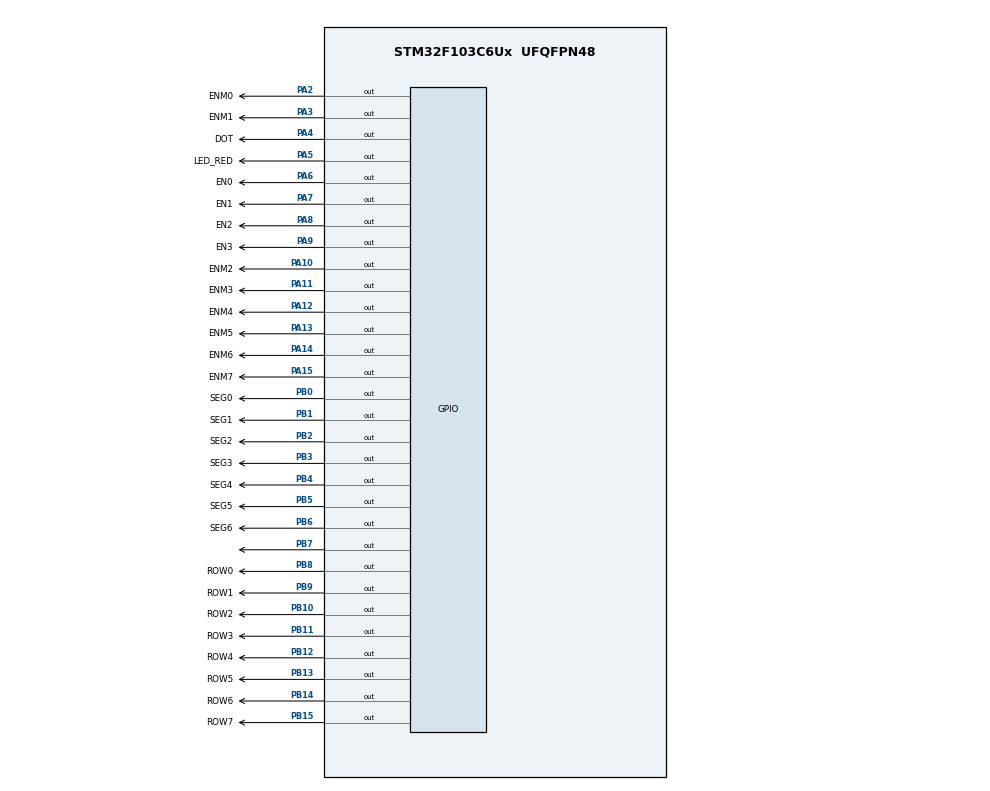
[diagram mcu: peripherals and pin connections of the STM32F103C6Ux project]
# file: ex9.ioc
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Mcu.Family=STM32F1
Mcu.Name=STM32F103C6Ux
Mcu.Package=UFQFPN48
NVIC.PriorityGroup=NVIC_PRIORITYGROUP_4
NVIC.TIM2_IRQn=true\:0\:0\:false\:false\:true\:true\:true
PA10.GPIO_Label=ENM2
PA10.Signal=GPIO_Output
PA11.GPIO_Label=ENM3
PA11.Signal=GPIO_Output
PA12.GPIO_Label=ENM4
PA12.Signal=GPIO_Output
PA13.GPIO_Label=ENM5
PA13.Signal=GPIO_Output
PA14.GPIO_Label=ENM6
PA14.Signal=GPIO_Output
PA15.GPIO_Label=ENM7
PA15.Signal=GPIO_Output
PA2.GPIO_Label=ENM0
PA2.Signal=GPIO_Output
PA3.GPIO_Label=ENM1
PA3.Signal=GPIO_Output
PA4.GPIO_Label=DOT
PA4.Signal=GPIO_Output
PA5.GPIO_Label=LED_RED
PA5.Signal=GPIO_Output
PA6.GPIO_Label=EN0
PA6.Signal=GPIO_Output
PA7.GPIO_Label=EN1
PA7.Signal=GPIO_Output
PA8.GPIO_Label=EN2
PA8.Signal=GPIO_Output
PA9.GPIO_Label=EN3
PA9.Signal=GPIO_Output
PB0.GPIO_Label=SEG0
PB0.Signal=GPIO_Output
PB1.GPIO_Label=SEG1
PB1.Signal=GPIO_Output
PB10.GPIO_Label=ROW2
PB10.Signal=GPIO_Output
PB11.GPIO_Label=ROW3
PB11.Signal=GPIO_Output
PB12.GPIO_Label=ROW4
PB12.Signal=GPIO_Output
PB13.GPIO_Label=ROW5
PB13.Signal=GPIO_Output
PB14.GPIO_Label=ROW6
PB14.Signal=GPIO_Output
PB15.GPIO_Label=ROW7
PB15.Signal=GPIO_Output
PB2.GPIO_Label=SEG2
PB2.Signal=GPIO_Output
PB3.GPIO_Label=SEG3
PB3.Signal=GPIO_Output
PB4.GPIO_Label=SEG4
PB4.Signal=GPIO_Output
PB5.GPIO_Label=SEG5
PB5.Signal=GPIO_Output
PB6.GPIO_Label=SEG6
PB6.Signal=GPIO_Output
PB7.Signal=GPIO_Output
PB8.GPIO_Label=ROW0
PB8.Signal=GPIO_Output
PB9.GPIO_Label=ROW1
PB9.Signal=GPIO_Output
ProjectManager.HeapSize=0x200
ProjectManager.StackSize=0x400
ProjectManager.TargetToolchain=STM32CubeIDE
RCC.APB1Freq_Value=8000000
RCC.APB2Freq_Value=8000000
TIM2.Period=9
TIM2.Prescaler=7999
VP_SYS_VS_ND.Mode=No_Debug
VP_TIM2_VS_ClockSourceINT.Mode=Internal
board=custom

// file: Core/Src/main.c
/* USER CODE BEGIN Header */
/**
  ******************************************************************************
  * @file           : main.c
  * @brief          : Main program body
  ******************************************************************************
  * @attention
  *
  * <h2><center>&copy; Copyright (c) 2026 STMicroelectronics.
  * All rights reserved.</center></h2>
  *
  * This software component is licensed by ST under BSD 3-Clause license,
  * the "License"; You may not use this file except in compliance with the
  * License. You may obtain a copy of the License at:
  *                        opensource.org/licenses/BSD-3-Clause
  *
  ******************************************************************************
  */
/* USER CODE END Header */
#include "main.h"

TIM_HandleTypeDef htim2;

/* USER CODE BEGIN PV */
const int MAX_LED= 4;
int index_led= 0;
int led_buffer[4]= {1, 2, 3, 4};

const int MAX_LED_MATRIX= 8;
int index_led_matrix= 0;
uint8_t matrix_buffer[8]= {0xFF, 0x81, 0xEE, 0xEE, 0xEE, 0x81, 0xFF, 0xFF};

int hour= 15;
int minute= 8;
int second= 50;
/* USER CODE END PV */

void SystemClock_Config(void);
static void MX_GPIO_Init(void);
static void MX_TIM2_Init(void);
/* USER CODE BEGIN PFP */
void display7SEG(int num);
void update7SEG(int index);
void updateClockBuffer(void);
void updateLEDMatrix(int index);
void setTimer0(int duration);
void setTimer1(int duration);
void setTimer2(int duration);
void timer_run(void);
/* USER CODE END PFP */

/* USER CODE BEGIN 0 */
int TIMER_CYCLE= 10;

int timer0_counter= 0;
int timer0_flag= 0;

void setTimer0(int duration) {
    timer0_counter= duration/TIMER_CYCLE;
    timer0_flag= 0;
}

int timer1_counter= 0;
int timer1_flag= 0;

void setTimer1(int duration) {
    timer1_counter= duration/TIMER_CYCLE;
    timer1_flag= 0;
}

int timer2_counter= 0;
int timer2_flag= 0;

void setTimer2(int duration) {
    timer2_counter= duration/TIMER_CYCLE;
    timer2_flag= 0;
}

void timer_run(void) {
    if (timer0_counter> 0) {
        timer0_counter--;
        if (timer0_counter== 0) {
            timer0_flag= 1;
        }
    }

    if (timer1_counter> 0) {
        timer1_counter--;
        if (timer1_counter== 0) {
            timer1_flag= 1;
        }
    }

    if (timer2_counter> 0) {
        timer2_counter--;
        if (timer2_counter== 0) {
            timer2_flag= 1;
        }
    }
}
/* USER CODE END 0 */

int main(void)
{

  /* MCU Configuration--------------------------------------------------------*/

  /* Reset of all peripherals, Initializes the Flash interface and the Systick. */
  HAL_Init();

  /* Configure the system clock */
  SystemClock_Config();

  /* Initialize all configured peripherals */
  MX_GPIO_Init();
  MX_TIM2_Init();
  /* USER CODE BEGIN 2 */
  HAL_TIM_Base_Start_IT(&htim2);

  HAL_GPIO_WritePin(GPIOA, EN0_Pin|EN1_Pin|EN2_Pin|EN3_Pin, GPIO_PIN_SET);
  HAL_GPIO_WritePin(GPIOA, ENM0_Pin|ENM1_Pin|ENM2_Pin|ENM3_Pin|ENM4_Pin|ENM5_Pin|ENM6_Pin|ENM7_Pin, GPIO_PIN_RESET);
  updateClockBuffer();

  setTimer0(1000);
  setTimer1(250);
  setTimer2(20);
  /* USER CODE END 2 */

  /* Infinite loop */
  /* USER CODE BEGIN WHILE */
  while (1)
  {
      if (timer2_flag==1) {
          setTimer2(20);

          updateLEDMatrix(index_led_matrix++);
          if (index_led_matrix>= MAX_LED_MATRIX) {
              index_led_matrix= 0;
          }
      }

      if (timer1_flag== 1) {
          setTimer1(250);

          update7SEG(index_led++);
          if (index_led>=MAX_LED) {
              index_led= 0;
          }
      }

      if (timer0_flag==1) {
          setTimer0(1000);

          HAL_GPIO_TogglePin(GPIOA, DOT_Pin);

          second++;
          if (second>=60) {
              second= 0;
              minute++;
          }
          if (minute>= 60) {
              minute= 0;
              hour++;
          }
          if (hour>= 24) {
              hour= 0;
          }

          updateClockBuffer();
      }
  }
  /* USER CODE END WHILE */

}

void SystemClock_Config(void)
{
  RCC_OscInitTypeDef RCC_OscInitStruct = {0};
  RCC_ClkInitTypeDef RCC_ClkInitStruct = {0};

  /** Initializes the RCC Oscillators according to the specified parameters
  * in the RCC_OscInitTypeDef structure.
  */
  RCC_OscInitStruct.OscillatorType = RCC_OSCILLATORTYPE_HSI;
  RCC_OscInitStruct.HSIState = RCC_HSI_ON;
  RCC_OscInitStruct.HSICalibrationValue = RCC_HSICALIBRATION_DEFAULT;
  RCC_OscInitStruct.PLL.PLLState = RCC_PLL_NONE;
  if (HAL_RCC_OscConfig(&RCC_OscInitStruct) != HAL_OK)
  {
    Error_Handler();
  }
  /** Initializes the CPU, AHB and APB buses clocks
  */
  RCC_ClkInitStruct.ClockType = RCC_CLOCKTYPE_HCLK|RCC_CLOCKTYPE_SYSCLK
                              |RCC_CLOCKTYPE_PCLK1|RCC_CLOCKTYPE_PCLK2;
  RCC_ClkInitStruct.SYSCLKSource = RCC_SYSCLKSOURCE_HSI;
  RCC_ClkInitStruct.AHBCLKDivider = RCC_SYSCLK_DIV1;
  RCC_ClkInitStruct.APB1CLKDivider = RCC_HCLK_DIV1;
  RCC_ClkInitStruct.APB2CLKDivider = RCC_HCLK_DIV1;

  if (HAL_RCC_ClockConfig(&RCC_ClkInitStruct, FLASH_LATENCY_0) != HAL_OK)
  {
    Error_Handler();
  }
}

static void MX_TIM2_Init(void)
{

  TIM_ClockConfigTypeDef sClockSourceConfig = {0};
  TIM_MasterConfigTypeDef sMasterConfig = {0};

  htim2.Instance = TIM2;
  htim2.Init.Prescaler = 7999;
  htim2.Init.CounterMode = TIM_COUNTERMODE_UP;
  htim2.Init.Period = 9;
  htim2.Init.ClockDivision = TIM_CLOCKDIVISION_DIV1;
  htim2.Init.AutoReloadPreload = TIM_AUTORELOAD_PRELOAD_DISABLE;
  if (HAL_TIM_Base_Init(&htim2) != HAL_OK)
  {
    Error_Handler();
  }
  sClockSourceConfig.ClockSource = TIM_CLOCKSOURCE_INTERNAL;
  if (HAL_TIM_ConfigClockSource(&htim2, &sClockSourceConfig) != HAL_OK)
  {
    Error_Handler();
  }
  sMasterConfig.MasterOutputTrigger = TIM_TRGO_RESET;
  sMasterConfig.MasterSlaveMode = TIM_MASTERSLAVEMODE_DISABLE;
  if (HAL_TIMEx_MasterConfigSynchronization(&htim2, &sMasterConfig) != HAL_OK)
  {
    Error_Handler();
  }

}

static void MX_GPIO_Init(void)
{
  GPIO_InitTypeDef GPIO_InitStruct = {0};

  /* GPIO Ports Clock Enable */
  __HAL_RCC_GPIOA_CLK_ENABLE();
  __HAL_RCC_GPIOB_CLK_ENABLE();

  /*Configure GPIO pin Output Level */
  HAL_GPIO_WritePin(GPIOA, DOT_Pin|LED_RED_Pin|EN0_Pin|EN1_Pin
                          |EN2_Pin|EN3_Pin|ENM0_Pin|ENM1_Pin
                          |ENM2_Pin|ENM3_Pin|ENM4_Pin|ENM5_Pin
                          |ENM6_Pin|ENM7_Pin, GPIO_PIN_RESET);

  /*Configure GPIO pin Output Level */
  HAL_GPIO_WritePin(GPIOB, SEG0_Pin|SEG1_Pin|SEG2_Pin|SEG3_Pin
                          |SEG4_Pin|SEG5_Pin|SEG6_Pin|ROW0_Pin
                          |ROW1_Pin|ROW2_Pin|ROW3_Pin|ROW4_Pin
                          |ROW5_Pin|ROW6_Pin|ROW7_Pin, GPIO_PIN_RESET);

  /*Configure GPIO pins : DOT_Pin LED_RED_Pin EN0_Pin EN1_Pin
                           EN2_Pin EN3_Pin ENM0_Pin ENM1_Pin
                           ENM2_Pin ENM3_Pin ENM4_Pin ENM5_Pin
                           ENM6_Pin ENM7_Pin */
  GPIO_InitStruct.Pin = DOT_Pin|LED_RED_Pin|EN0_Pin|EN1_Pin
                          |EN2_Pin|EN3_Pin|ENM0_Pin|ENM1_Pin
                          |ENM2_Pin|ENM3_Pin|ENM4_Pin|ENM5_Pin
                          |ENM6_Pin|ENM7_Pin;
  GPIO_InitStruct.Mode = GPIO_MODE_OUTPUT_PP;
  GPIO_InitStruct.Pull = GPIO_NOPULL;
  GPIO_InitStruct.Speed = GPIO_SPEED_FREQ_LOW;
  HAL_GPIO_Init(GPIOA, &GPIO_InitStruct);

  /*Configure GPIO pins : SEG0_Pin SEG1_Pin SEG2_Pin SEG3_Pin
                           SEG4_Pin SEG5_Pin SEG6_Pin ROW0_Pin
                           ROW1_Pin ROW2_Pin ROW3_Pin ROW4_Pin
                           ROW5_Pin ROW6_Pin ROW7_Pin */
  GPIO_InitStruct.Pin = SEG0_Pin|SEG1_Pin|SEG2_Pin|SEG3_Pin
                          |SEG4_Pin|SEG5_Pin|SEG6_Pin|ROW0_Pin
                          |ROW1_Pin|ROW2_Pin|ROW3_Pin|ROW4_Pin
                          |ROW5_Pin|ROW6_Pin|ROW7_Pin;
  GPIO_InitStruct.Mode = GPIO_MODE_OUTPUT_PP;
  GPIO_InitStruct.Pull = GPIO_NOPULL;
  GPIO_InitStruct.Speed = GPIO_SPEED_FREQ_LOW;
  HAL_GPIO_Init(GPIOB, &GPIO_InitStruct);

}

/* USER CODE BEGIN 4 */
const uint8_t LED7_HEX[10] = {
    0x3F, 0x06, 0x5B, 0x4F, 0x66, 0x6D, 0x7D, 0x07, 0x7F, 0x6F
};

const uint16_t SEG_PINS[7] = {
    SEG0_Pin, SEG1_Pin, SEG2_Pin, SEG3_Pin, SEG4_Pin, SEG5_Pin, SEG6_Pin
};

void display7SEG(int num) {
    if (num<0 || num>9) return;
    uint8_t code = LED7_HEX[num];

    for (int i= 0; i< 7; i++) {
        GPIO_PinState state = (code& (1<<i)) ? GPIO_PIN_RESET : GPIO_PIN_SET;
        HAL_GPIO_WritePin(GPIOB, SEG_PINS[i], state);
    }
}

void update7SEG(int index) {
    HAL_GPIO_WritePin(GPIOA, EN0_Pin|EN1_Pin|EN2_Pin|EN3_Pin, GPIO_PIN_SET);

    switch (index) {
        case 0:
            HAL_GPIO_WritePin(GPIOA, EN0_Pin, GPIO_PIN_RESET);
            display7SEG(led_buffer[0]);
            break;
        case 1:
            HAL_GPIO_WritePin(GPIOA, EN1_Pin, GPIO_PIN_RESET);
            display7SEG(led_buffer[1]);
            break;
        case 2:
            HAL_GPIO_WritePin(GPIOA, EN2_Pin, GPIO_PIN_RESET);
            display7SEG(led_buffer[2]);
            break;
        case 3:
            HAL_GPIO_WritePin(GPIOA, EN3_Pin, GPIO_PIN_RESET);
            display7SEG(led_buffer[3]);
            break;
        default:
            break;
    }
}

void updateClockBuffer(void) {
    led_buffer[0]= hour/10;
    led_buffer[1]= hour%10;
    led_buffer[2]= minute/10;
    led_buffer[3]= minute%10;
}

void updateLEDMatrix(int index) {
    HAL_GPIO_WritePin(GPIOA, ENM0_Pin|ENM1_Pin|ENM2_Pin|ENM3_Pin|ENM4_Pin|ENM5_Pin|ENM6_Pin|ENM7_Pin, GPIO_PIN_SET);

    GPIOB->ODR = (GPIOB->ODR & 0x00FF) | ((uint16_t)(matrix_buffer[index]) << 8);

    switch (index) {
        case 0:
            HAL_GPIO_WritePin(GPIOA, ENM0_Pin, GPIO_PIN_RESET);
            break;
        case 1:
            HAL_GPIO_WritePin(GPIOA, ENM1_Pin, GPIO_PIN_RESET);
            break;
        case 2:
            HAL_GPIO_WritePin(GPIOA, ENM2_Pin, GPIO_PIN_RESET);
            break;
        case 3:
            HAL_GPIO_WritePin(GPIOA, ENM3_Pin, GPIO_PIN_RESET);
            break;
        case 4:
            HAL_GPIO_WritePin(GPIOA, ENM4_Pin, GPIO_PIN_RESET);
            break;
        case 5:
            HAL_GPIO_WritePin(GPIOA, ENM5_Pin, GPIO_PIN_RESET);
            break;
        case 6:
            HAL_GPIO_WritePin(GPIOA, ENM6_Pin, GPIO_PIN_RESET);
            break;
        case 7:
            HAL_GPIO_WritePin(GPIOA, ENM7_Pin, GPIO_PIN_RESET);
            break;
        default:
            break;
    }
}

void HAL_TIM_PeriodElapsedCallback(TIM_HandleTypeDef *htim) {
    if (htim->Instance==TIM2) {
        timer_run();
    }
}
/* USER CODE END 4 */

void Error_Handler(void)
{
  __disable_irq();
  while (1)
  {
  }
}

/************************ (C) COPYRIGHT STMicroelectronics *****END OF FILE****/
